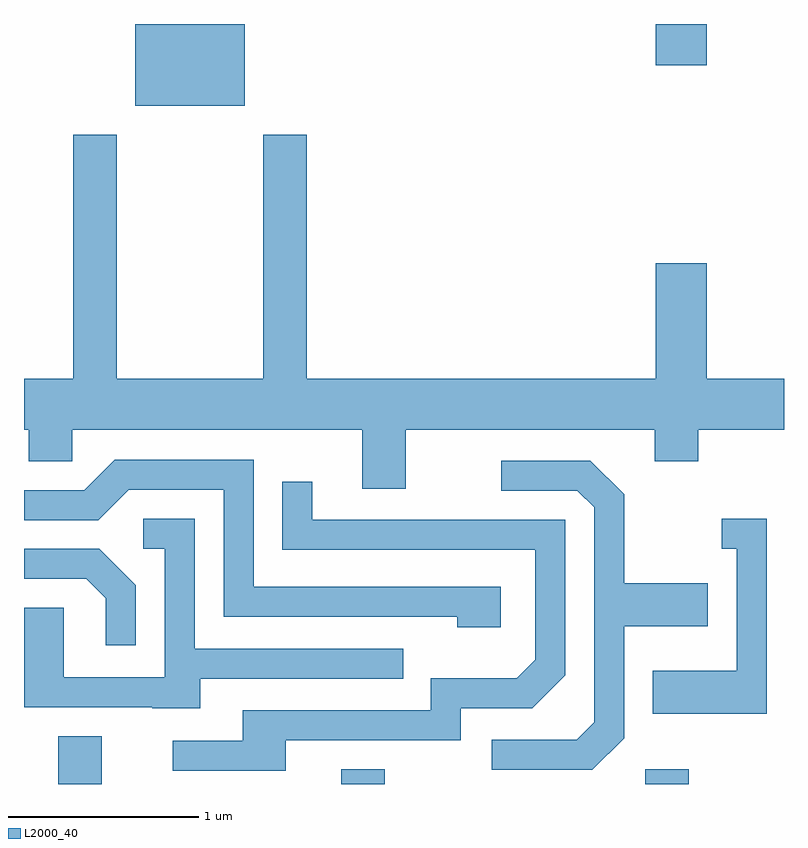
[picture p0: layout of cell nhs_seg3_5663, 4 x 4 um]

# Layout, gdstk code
import gdstk
lib = gdstk.Library(unit=1e-6, precision=1e-09)
def R(c, l, rs):  # rectangles x0, y0, x1, y1
    for r in rs: c.add(gdstk.rectangle(r[:2], r[2:], *l))
def P(c, l, *ps):  # polygons
    for p in ps: c.add(gdstk.Polygon(p, *l))
L2000_40 = (2000, 40)

nhs_seg3_5663 = lib.new_cell('nhs_seg3_5663')
R(nhs_seg3_5663, L2000_40, [(351.791,1161.892,352.019,1162.144), (353.281,1161.892,353.509,1161.969), (354.881,1161.892,355.109,1161.969), (352.196,1165.461,352.774,1165.892), (354.936,1165.676,355.204,1165.892)])
P(nhs_seg3_5663, L2000_40, [(353.619,1163.756),(354.931,1163.756),(354.931,1163.591),(355.159,1163.591),(355.159,1163.756),(355.611,1163.756),(355.611,1164.024),(355.204,1164.024),(355.204,1164.634),(354.936,1164.634),(354.936,1164.024),(353.099,1164.024),(353.099,1165.309),(352.871,1165.309),(352.871,1164.024),(352.099,1164.024),(352.099,1165.309),(351.871,1165.309),(351.871,1164.024),(351.611,1164.024),(351.611,1163.756),(351.636,1163.756),(351.636,1163.591),(351.864,1163.591),(351.864,1163.756),(353.391,1163.756),(353.391,1163.446),(353.619,1163.446)],
  [(354.119,1162.929),(352.819,1162.929),(352.819,1163.599),(352.089,1163.599),(351.929,1163.439),(351.611,1163.439),(351.611,1163.281),(352.002,1163.281),(352.162,1163.441),(352.661,1163.441),(352.661,1162.771),(353.891,1162.771),(353.891,1162.716),(354.119,1162.716)],
  [(354.769,1162.134),(354.769,1162.721),(355.209,1162.721),(355.209,1162.949),(354.769,1162.949),(354.769,1163.417),(354.592,1163.594),(354.123,1163.594),(354.123,1163.436),(354.524,1163.436),(354.611,1163.349),(354.611,1162.217),(354.519,1162.124),(354.073,1162.124),(354.073,1161.966),(354.602,1161.966)],
  [(352.989,1162.121),(353.909,1162.121),(353.909,1162.291),(354.287,1162.291),(354.459,1162.464),(354.459,1163.284),(353.129,1163.284),(353.129,1163.483),(352.971,1163.483),(352.971,1163.126),(354.301,1163.126),(354.301,1162.547),(354.204,1162.449),(353.751,1162.449),(353.751,1162.279),(352.761,1162.279),(352.761,1162.119),(352.393,1162.119),(352.393,1161.961),(352.989,1161.961)],
  [(355.519,1163.289),(355.283,1163.289),(355.283,1163.131),(355.361,1163.131),(355.361,1162.489),(354.921,1162.489),(354.921,1162.261),(355.519,1162.261)],
  [(352.539,1162.446),(353.608,1162.446),(353.608,1162.604),(352.509,1162.604),(352.509,1163.289),(352.238,1163.289),(352.238,1163.131),(352.351,1163.131),(352.351,1162.454),(351.819,1162.454),(351.819,1162.819),(351.611,1162.819),(351.611,1162.296),(352.285,1162.296),(352.285,1162.291),(352.539,1162.291)],
  [(352.199,1162.937),(352.007,1163.129),(351.611,1163.129),(351.611,1162.971),(351.939,1162.971),(352.041,1162.869),(352.041,1162.623),(352.199,1162.623)])

lib.write_gds('nhs_seg3_5663.gds')
